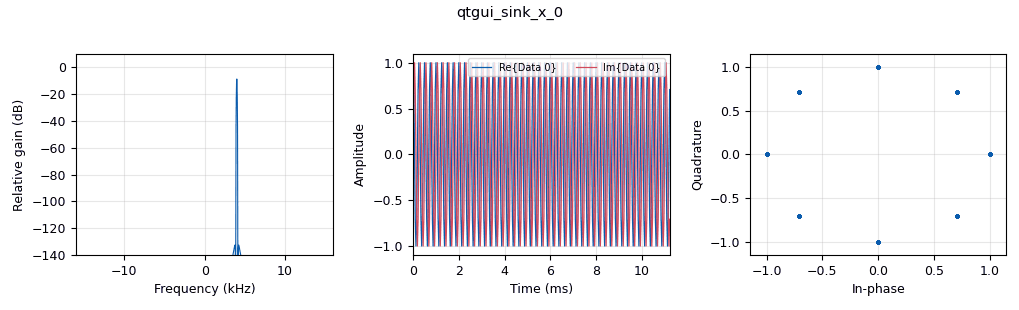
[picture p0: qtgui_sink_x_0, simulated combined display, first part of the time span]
options:
  parameters:
    author: operateur
    generate_options: qt_gui
    generator_class_name: PythonQtGuiGenerator
    generator_module: gnuradio.grc.workflows.python_qt_gui
    id: AddMulBlock
    output_language: python
    title: Not titled yet
  states: {}

blocks:
- name: samp_rate
  id: variable
  parameters:
    value: '32000'
  states: {}
- name: analog_sig_source_x_0
  id: analog_sig_source_x
  parameters:
    amp: '1'
    freq: '3000'
    offset: '0'
    phase: '0'
    samp_rate: samp_rate
    type: complex
    waveform: analog.GR_COS_WAVE
  states: {}
- name: analog_sig_source_x_1
  id: analog_sig_source_x
  parameters:
    amp: '1'
    freq: '1000'
    offset: '0'
    phase: '0'
    samp_rate: samp_rate
    type: complex
    waveform: analog.GR_COS_WAVE
  states: {}
- name: blocks_throttle2_0
  id: blocks_throttle2
  parameters:
    samples_per_second: samp_rate
    type: complex
  states: {}
- name: epy_block_0
  id: epy_block
  parameters:
    _source_code: |
      """
      Embedded Python Blocks:

      Each time this file is saved, GRC will instantiate the first class it finds
      to get ports and parameters of your block. The arguments to __init__  will
      be the parameters. All of them are required to have default values!
      """

      import numpy as np
      from gnuradio import gr


      class blk(gr.sync_block):  # other base classes are basic_block, decim_block, interp_block
          """Embedded Python Block example - a simple multiply const"""

          def __init__(self, addflag=True):  # only default arguments here
              """arguments to this function show up as parameters in GRC"""
              gr.sync_block.__init__(
                  self,
                  name='Add or Multiply Blocks',   # will show up in GRC
                  in_sig=[np.complex64,np.complex64],
                  out_sig=[np.complex64]
              )
              # if an attribute with the same name as a parameter is found,
              # a callback is registered (properties work, too).
              self.addflag = addflag

          def work(self, input_items, output_items):
              #print("add flag : " + str(self.addflag))
              """example: multiply with constant"""
              if self.addflag == True:
                  output_items[0][:] = input_items[0][:] + input_items[1][:]
              else:
                  output_items[0][:] = input_items[0][:] * input_items[1][:]
      			
              #output_items[0][:] = input_items[0] * self.addflag
              return len(output_items[0])
    addflag: 'False'
  states: {}
- name: qtgui_sink_x_0
  id: qtgui_sink_x
  parameters:
    bw: samp_rate
    fc: '0'
    fftsize: '1024'
    type: complex
  states: {}

connections:
- [analog_sig_source_x_0, '0', epy_block_0, '1']
- [analog_sig_source_x_1, '0', epy_block_0, '0']
- [blocks_throttle2_0, '0', qtgui_sink_x_0, '0']
- [epy_block_0, '0', blocks_throttle2_0, '0']

metadata:
  file_format: 1
  grc_version: v3.11.0.0git-1029-g3c48f5e2
